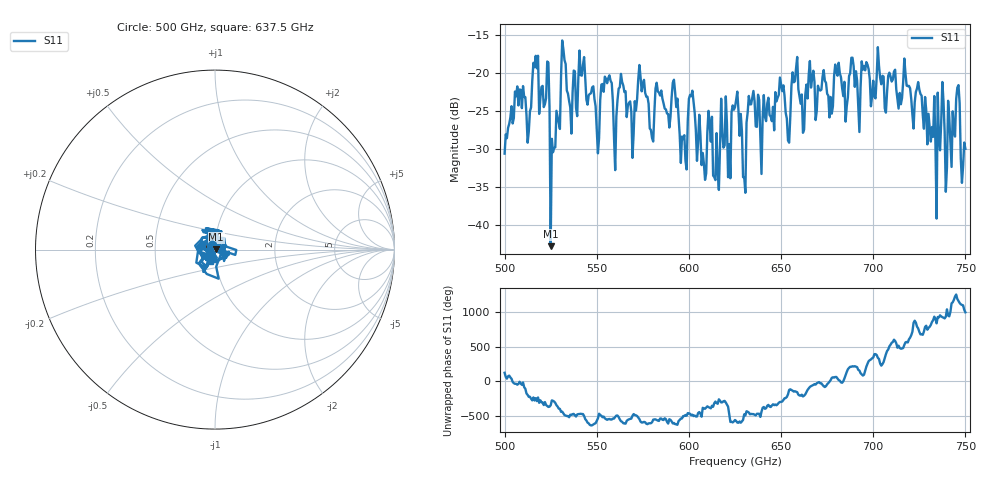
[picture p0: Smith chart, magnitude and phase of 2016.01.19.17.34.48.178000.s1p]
!Created with skrf (http://scikit-rf.org).
# GHz S RI R 50.0
!freq ReS11 ImS11
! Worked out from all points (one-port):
!   401 points, 500 GHz to 750 GHz, reference 50 ohm
!   lowest |S11| = -42.8 dB at 525 GHz (marker M1), VSWR 1.01, Z = 50.7 + j0.116 ohm
!   |S11| at or under -10 dB: start of sweep to end of sweep
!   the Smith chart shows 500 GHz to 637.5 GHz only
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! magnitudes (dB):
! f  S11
! 500 GHz  -30.7
! 506.9 GHz  -21.8
! 513.1 GHz  -27.7
! 516.9 GHz  -17.8
! 523.1 GHz  -18.5
! 525 GHz  -42.8
! 526.2 GHz  -30.5
! 531.2 GHz  -15.7
! 535.6 GHz  -24.6
! 541.9 GHz  -20.4
! 550 GHz  -27.4
! 562.5 GHz  -21.9
! 593.8 GHz  -23.4
! 597.5 GHz  -28.2
! 601.2 GHz  -23.1
! 615 GHz  -27.9
! 625 GHz  -24.5
! 630 GHz  -33.8
! 633.8 GHz  -24.1
! 640 GHz  -25.9
! 650.6 GHz  -22.4
! 653.8 GHz  -28.9
! 656.2 GHz  -19.9
! 687.5 GHz  -20.1
! 718.8 GHz  -21.8
! 735 GHz  -22.6
! 745.6 GHz  -22.0
! 750 GHz  -30.0
